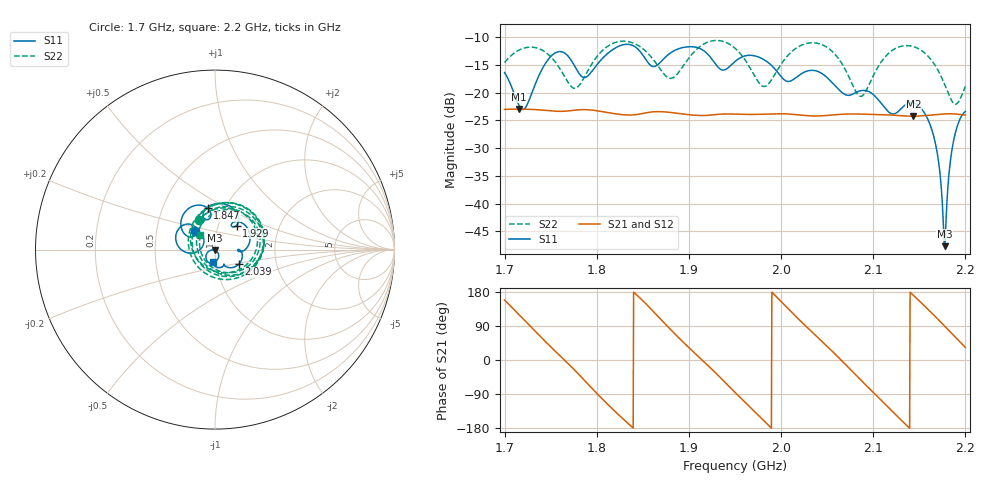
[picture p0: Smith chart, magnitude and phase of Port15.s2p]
# Hz S RI R 50
! CMT, CMT808U, 21440046, 21.4.3/4
! Date: 6/12/2026 9:38:52 AM
! Data: Format (Calibration Info)
! Freq	S11:Re/Im(F2)	S41:Re/Im(F2)	S14:Re/Im(F2)	S44:Re/Im(F2)
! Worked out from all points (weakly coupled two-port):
!   1001 points, 1.7 GHz to 2.2 GHz, reference 50 ohm
!   highest |S21| = -22.97 dB at 1.716 GHz (marker M1); lowest = -24.3 dB at 2.143 GHz (marker M2)
!   lowest |S11| = -47.7 dB at 2.178 GHz (marker M3), VSWR 1.01, Z = 49.9 - j0.395 ohm
!   |S11| at or under -10 dB: start of sweep to end of sweep
!   |S22| runs from -22.1 to -10.6 dB; largest |S21 - S12| = 0.0012
!   S11 on the Smith chart (normalised r, x): 1.7 GHz: 0.79, +0.17; 1.847 GHz: 0.83, +0.41; 1.929 GHz: 1.22, +0.34; 2.039 GHz: 1.29, -0.21; 2.2 GHz: 0.97, -0.13
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1.7e9  -0.1104 0.1036  -0.0655 0.0263  -0.0656 0.0252  -0.0867 0.1654
1.7155e9  -0.0614 0.0466  -0.0354 0.0616  -0.0362 0.0608  0.0646 0.2322
1.756e9  -0.2189 0.0708  0.0636 0.024  0.0628 0.0248  0.1535 -0.1007
1.7835e9  -0.1031 0.0947  0.049 -0.0503  0.0496 -0.0493  -0.1246 -0.00574
1.8145e9  -0.1899 0.1377  -0.036 -0.0547  -0.035 -0.0551  0.0708 0.2602
1.847e9  -0.0413 0.231  -0.0615 0.0183  -0.0615 0.0172  0.2563 -0.0394
1.867e9  -0.0581 0.171  -0.0269 0.0618  -0.0278 0.0611  0.0412 -0.1659
1.893e9  -0.00106 0.254  0.0422 0.0484  0.0412 0.049  -0.144 0.0909
1.929e9  0.1201 0.1341  0.0525 -0.0355  0.053 -0.0345  0.2231 0.1925
1.95e9  0.1099 0.1554  0.00507 -0.0637  0.00619 -0.0634  0.2455 -0.0519
1.9785e9  0.1953 0.0584  -0.057 -0.0287  -0.0563 -0.0296  -0.0681 -0.0943
1.991e9  0.1711 0.00248  -0.0642 0.00384  -0.0641 0.00268  -0.1277 0.0471
2.0335e9  0.1476 -0.0579  0.0168 0.0593  0.0157 0.0595  0.2383 0.149
2.0395e9  0.1327 -0.0812  0.0304 0.0536  0.0294 0.054  0.2645 0.0859
2.065e9  0.0521 -0.0878  0.0637 0.000195  0.0636 0.0013  0.1279 -0.1377
2.086e9  0.042 -0.095  0.0399 -0.0501  0.0407 -0.0493  -0.0797 -0.047
2.117e9  -0.00782 -0.0662  -0.0376 -0.0504  -0.0367 -0.051  0.0484 0.2217
2.1435e9  -0.0331 -0.0735  -0.0605 0.00973  -0.0606 0.00862  0.2498 0.0713
2.1655e9  -0.0388 -0.0125  -0.0308 0.0551  -0.0318 0.0545  0.1426 -0.1166
2.1775e9  -0.0012 -0.00396  0.000599 0.0643  -0.000587 0.0642  0.0176 -0.1172
2.187e9  0.0204 -0.0298  0.0268 0.0584  0.0257 0.0589  -0.0598 -0.0537
2.2e9  -0.00859 -0.067  0.0525 0.0341  0.0518 0.0351  -0.0809 0.08
